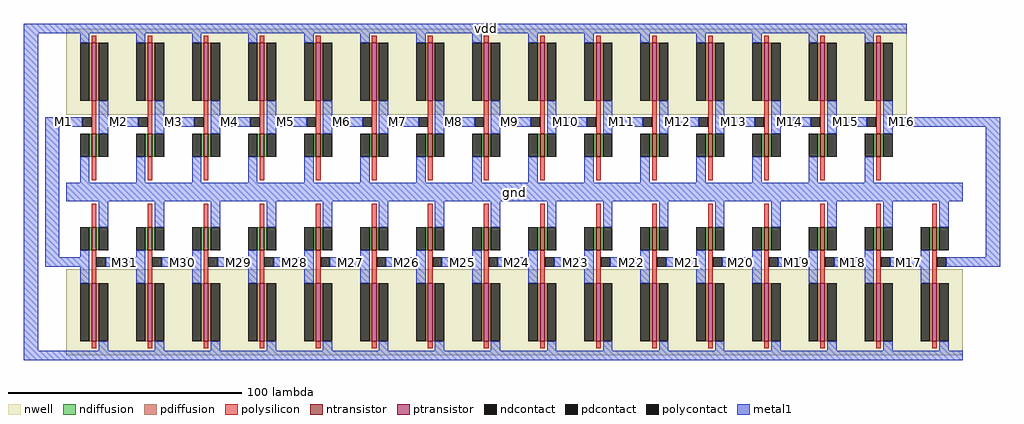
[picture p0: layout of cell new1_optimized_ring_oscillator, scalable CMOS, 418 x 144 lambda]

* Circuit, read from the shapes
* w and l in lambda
.subckt new1_optimized_ring_oscillator gnd vdd
M1 gnd n1 n2 VSUBS nfet w=10 l=2
M2 n3 n2 gnd VSUBS nfet w=10 l=2
M3 gnd n4 n1 VSUBS nfet w=10 l=2
M4 n5 n3 gnd VSUBS nfet w=10 l=2
M5 gnd n6 n4 VSUBS nfet w=10 l=2
M6 n7 n5 gnd VSUBS nfet w=10 l=2
M7 gnd n8 n6 VSUBS nfet w=10 l=2
M8 n9 n7 gnd VSUBS nfet w=10 l=2
M9 gnd n10 n8 VSUBS nfet w=10 l=2
M10 n11 n9 gnd VSUBS nfet w=10 l=2
M11 gnd n12 n10 VSUBS nfet w=10 l=2
M12 n13 n11 gnd VSUBS nfet w=10 l=2
M13 gnd n14 n12 VSUBS nfet w=10 l=2
M14 n15 n13 gnd VSUBS nfet w=10 l=2
M15 gnd n16 n14 VSUBS nfet w=10 l=2
M16 n17 n15 gnd VSUBS nfet w=10 l=2
M17 gnd n18 n16 VSUBS nfet w=10 l=2
M18 n19 n17 gnd VSUBS nfet w=10 l=2
M19 gnd n20 n18 VSUBS nfet w=10 l=2
M20 n21 n19 gnd VSUBS nfet w=10 l=2
M21 gnd n22 n20 VSUBS nfet w=10 l=2
M22 n23 n21 gnd VSUBS nfet w=10 l=2
M23 gnd n24 n22 VSUBS nfet w=10 l=2
M24 n25 n23 gnd VSUBS nfet w=10 l=2
M25 gnd n26 n24 VSUBS nfet w=10 l=2
M26 n27 n25 gnd VSUBS nfet w=10 l=2
M27 gnd n28 n26 VSUBS nfet w=10 l=2
M28 n29 n27 gnd VSUBS nfet w=10 l=2
M29 gnd n30 n28 VSUBS nfet w=10 l=2
M30 n31 n29 gnd VSUBS nfet w=10 l=2
M31 gnd n31 n30 VSUBS nfet w=10 l=2
M32 vdd n1 n2 n32 pfet w=25 l=2
M33 n3 n2 vdd n33 pfet w=25 l=2
M34 vdd n4 n1 n32 pfet w=25 l=2
M35 n5 n3 vdd n33 pfet w=25 l=2
M36 vdd n6 n4 n32 pfet w=25 l=2
M37 n7 n5 vdd n33 pfet w=25 l=2
M38 vdd n8 n6 n32 pfet w=25 l=2
M39 n9 n7 vdd n33 pfet w=25 l=2
M40 vdd n10 n8 n32 pfet w=25 l=2
M41 n11 n9 vdd n33 pfet w=25 l=2
M42 vdd n12 n10 n32 pfet w=25 l=2
M43 n13 n11 vdd n33 pfet w=25 l=2
M44 vdd n14 n12 n32 pfet w=25 l=2
M45 n15 n13 vdd n33 pfet w=25 l=2
M46 vdd n16 n14 n32 pfet w=25 l=2
M47 n17 n15 vdd n33 pfet w=25 l=2
M48 vdd n18 n16 n32 pfet w=25 l=2
M49 n19 n17 vdd n33 pfet w=25 l=2
M50 vdd n20 n18 n32 pfet w=25 l=2
M51 n21 n19 vdd n33 pfet w=25 l=2
M52 vdd n22 n20 n32 pfet w=25 l=2
M53 n23 n21 vdd n33 pfet w=25 l=2
M54 vdd n24 n22 n32 pfet w=25 l=2
M55 n25 n23 vdd n33 pfet w=25 l=2
M56 vdd n26 n24 n32 pfet w=25 l=2
M57 n27 n25 vdd n33 pfet w=25 l=2
M58 vdd n28 n26 n32 pfet w=25 l=2
M59 n29 n27 vdd n33 pfet w=25 l=2
M60 vdd n30 n28 n32 pfet w=25 l=2
M61 n31 n29 vdd n33 pfet w=25 l=2
M62 vdd n31 n30 n32 pfet w=25 l=2
.ends

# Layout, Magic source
magic
tech scmos
<< metal1 >>
rect -18 68 360 72
rect -18 -68 -12 68
rect -9 28 7 32
rect 14 28 31 32
rect 38 28 54 32
rect 62 28 78 32
rect 86 28 102 32
rect 110 28 126 32
rect 134 28 150 32
rect 158 28 174 32
rect 182 28 198 32
rect 206 28 222 32
rect 230 28 246 32
rect 254 28 270 32
rect 278 28 294 32
rect 302 28 318 32
rect 326 28 342 32
rect 350 28 400 32
rect -9 -28 -3 28
rect 0 -4 384 4
rect 394 -28 400 28
rect -9 -32 6 -28
rect 17 -32 33 -28
rect 42 -32 58 -28
rect 66 -32 82 -28
rect 90 -32 106 -28
rect 114 -32 130 -28
rect 138 -32 154 -28
rect 162 -32 178 -28
rect 185 -32 201 -28
rect 210 -32 226 -28
rect 234 -32 250 -28
rect 258 -32 274 -28
rect 281 -32 297 -28
rect 305 -32 321 -28
rect 329 -32 345 -28
rect 353 -32 369 -28
rect 384 -32 400 -28
rect -18 -72 9 -68
use inverter_wo_label_Q5  inverter_wo_label_Q5_0
array 0 14 24 0 0 72
transform 1 0 0 0 1 33
box 0 -33 24 39
use inverter_wo_label_Q5  inverter_wo_label_Q5_1
array 0 15 -24 0 0 -72
transform -1 0 24 0 -1 -33
box 0 -33 24 39
<< labels >>
rlabel metal1 0 -4 384 4 1 gnd
rlabel metal1 0 68 360 72 5 vdd
rlabel metal1 -9 28 7 32 1 M1
rlabel metal1 14 28 31 32 1 M2
rlabel metal1 38 28 54 32 1 M3
rlabel metal1 62 28 78 32 1 M4
rlabel metal1 86 28 102 32 1 M5
rlabel metal1 110 28 126 32 1 M6
rlabel metal1 134 28 150 32 1 M7
rlabel metal1 158 28 174 32 1 M8
rlabel metal1 182 28 198 32 1 M9
rlabel metal1 206 28 222 32 1 M10
rlabel metal1 230 28 246 32 1 M11
rlabel metal1 254 28 270 32 1 M12
rlabel metal1 278 28 294 32 1 M13
rlabel metal1 302 28 318 32 1 M14
rlabel metal1 326 28 342 32 1 M15
rlabel metal1 350 28 366 32 1 M16
rlabel metal1 353 -32 369 -28 1 M17
rlabel metal1 329 -32 345 -28 1 M18
rlabel metal1 305 -32 321 -28 1 M19
rlabel metal1 281 -32 297 -28 1 M20
rlabel metal1 258 -32 274 -28 1 M21
rlabel metal1 234 -32 250 -28 1 M22
rlabel metal1 210 -32 226 -28 1 M23
rlabel metal1 185 -32 201 -28 1 M24
rlabel metal1 162 -32 178 -28 1 M25
rlabel metal1 138 -32 154 -28 1 M26
rlabel metal1 114 -32 130 -28 1 M27
rlabel metal1 90 -32 106 -28 1 M28
rlabel metal1 66 -32 82 -28 1 M29
rlabel metal1 42 -32 58 -28 1 M30
rlabel metal1 17 -32 33 -28 1 M31
<< end >>

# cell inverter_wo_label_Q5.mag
magic
tech scmos
<< nwell >>
rect 0 0 24 37
<< ntransistor >>
rect 11 -18 13 -8
<< ptransistor >>
rect 11 6 13 31
<< ndiffusion >>
rect 10 -18 11 -8
rect 13 -18 14 -8
<< pdiffusion >>
rect 10 6 11 31
rect 13 6 14 31
<< ndcontact >>
rect 6 -18 10 -8
rect 14 -18 18 -8
<< pdcontact >>
rect 6 6 10 31
rect 14 6 18 31
<< polysilicon >>
rect 11 31 13 34
rect 11 -8 13 6
rect 11 -28 13 -18
<< polycontact >>
rect 7 -5 11 -1
<< metal1 >>
rect 0 35 24 39
rect 6 31 10 35
rect 14 -1 18 6
rect 0 -5 7 -1
rect 14 -5 24 -1
rect 14 -8 18 -5
rect 6 -29 10 -18
rect 0 -33 24 -29
<< end >>
